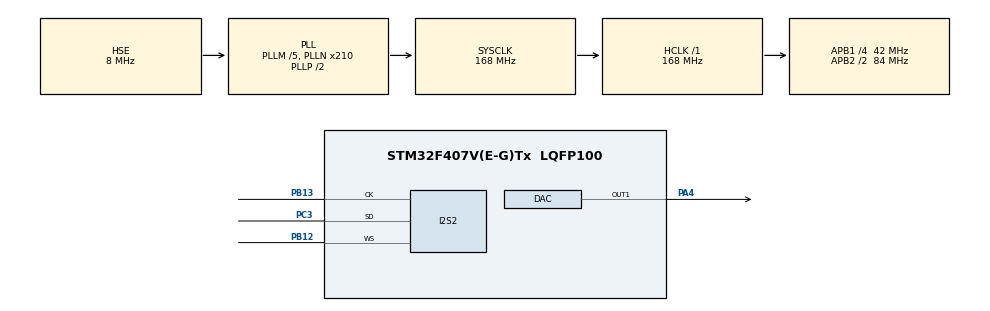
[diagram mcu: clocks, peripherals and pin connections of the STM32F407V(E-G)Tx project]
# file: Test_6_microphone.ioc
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DAC.DAC_Trigger=DAC_TRIGGER_T6_TRGO
Dma.DAC1.0.Direction=DMA_MEMORY_TO_PERIPH
Dma.DAC1.0.FIFOMode=DMA_FIFOMODE_DISABLE
Dma.DAC1.0.Instance=DMA1_Stream5
Dma.DAC1.0.MemDataAlignment=DMA_MDATAALIGN_HALFWORD
Dma.DAC1.0.MemInc=DMA_MINC_ENABLE
Dma.DAC1.0.Mode=DMA_CIRCULAR
Dma.DAC1.0.PeriphDataAlignment=DMA_PDATAALIGN_HALFWORD
Dma.DAC1.0.PeriphInc=DMA_PINC_DISABLE
Dma.DAC1.0.Priority=DMA_PRIORITY_LOW
Dma.Request0=DAC1
Dma.Request1=SPI2_RX
Dma.SPI2_RX.1.Direction=DMA_PERIPH_TO_MEMORY
Dma.SPI2_RX.1.FIFOMode=DMA_FIFOMODE_DISABLE
Dma.SPI2_RX.1.Instance=DMA1_Stream3
Dma.SPI2_RX.1.MemDataAlignment=DMA_MDATAALIGN_HALFWORD
Dma.SPI2_RX.1.MemInc=DMA_MINC_ENABLE
Dma.SPI2_RX.1.Mode=DMA_CIRCULAR
Dma.SPI2_RX.1.PeriphDataAlignment=DMA_PDATAALIGN_HALFWORD
Dma.SPI2_RX.1.PeriphInc=DMA_PINC_DISABLE
Dma.SPI2_RX.1.Priority=DMA_PRIORITY_HIGH
I2S2.AudioFreq=AudioFreqCustomValue
I2S2.AudioFreqCustom=68000
I2S2.DataFormat=I2S_DATAFORMAT_24B
I2S2.ErrorAudioFreq=0.83 %
I2S2.FullDuplexMode=I2S_FULLDUPLEXMODE_DISABLE
I2S2.Instance=SPI$Index
I2S2.Mode=I2S_MODE_MASTER_RX
I2S2.RealAudioFreq=68.571 KHz
I2S2.Standard=I2S_STANDARD_PHILIPS
I2S2.VirtualMode=I2S_MODE_MASTER
Mcu.Family=STM32F4
Mcu.Name=STM32F407V(E-G)Tx
Mcu.Package=LQFP100
NVIC.DMA1_Stream3_IRQn=true\:0\:0\:false\:false\:true\:false\:true
NVIC.DMA1_Stream5_IRQn=true\:0\:0\:false\:false\:true\:false\:true
NVIC.PriorityGroup=NVIC_PRIORITYGROUP_4
PA4.Signal=COMP_DAC1_group
PB12.Mode=Half_Duplex_Master
PB12.Signal=I2S2_WS
PB13.Mode=Half_Duplex_Master
PB13.Signal=I2S2_CK
PC3.Mode=Half_Duplex_Master
PC3.Signal=I2S2_SD
PH0-OSC_IN.Mode=HSE-External-Oscillator
PH0-OSC_IN.Signal=RCC_OSC_IN
PH1-OSC_OUT.Mode=HSE-External-Oscillator
PH1-OSC_OUT.Signal=RCC_OSC_OUT
ProjectManager.HeapSize=0x200
ProjectManager.StackSize=0x400
ProjectManager.TargetToolchain=STM32CubeIDE
RCC.48MHZClocksFreq_Value=84000000
RCC.AHBFreq_Value=168000000
RCC.APB1CLKDivider=RCC_HCLK_DIV4
RCC.APB1Freq_Value=42000000
RCC.APB1TimFreq_Value=84000000
RCC.APB2CLKDivider=RCC_HCLK_DIV2
RCC.APB2Freq_Value=84000000
RCC.APB2TimFreq_Value=168000000
RCC.CortexFreq_Value=168000000
RCC.HCLKFreq_Value=168000000
RCC.HSE_VALUE=8000000
RCC.HSI_VALUE=16000000
RCC.LSE_VALUE=32768
RCC.PLLM=5
RCC.PLLN=210
RCC.PLLSourceVirtual=RCC_PLLSOURCE_HSE
RCC.SYSCLKFreq_VALUE=168000000
RCC.SYSCLKSource=RCC_SYSCLKSOURCE_PLLCLK
RCC.VCOOutputFreq_Value=336000000
SH.COMP_DAC1_group.0=DAC_OUT1,DAC_OUT1
TIM6.Period=9
TIM6.Prescaler=524
TIM6.TIM_MasterOutputTrigger=TIM_TRGO_UPDATE
VP_TIM6_VS_ClockSourceINT.Mode=Enable_Timer
board=custom

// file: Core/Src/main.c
/* USER CODE BEGIN Header */
/**
  ******************************************************************************
  * @file           : main.c
  * @brief          : Main program body
  ******************************************************************************
  * @attention
  *
  * <h2><center>&copy; Copyright (c) 2021 STMicroelectronics.
  * All rights reserved.</center></h2>
  *
  * This software component is licensed by ST under BSD 3-Clause license,
  * the "License"; You may not use this file except in compliance with the
  * License. You may obtain a copy of the License at:
  *                        opensource.org/licenses/BSD-3-Clause
  *
  ******************************************************************************
  */
/* USER CODE END Header */
#include "main.h"

DAC_HandleTypeDef hdac;
DMA_HandleTypeDef hdma_dac1;

I2S_HandleTypeDef hi2s2;
DMA_HandleTypeDef hdma_spi2_rx;

TIM_HandleTypeDef htim6;

void SystemClock_Config(void);
static void MX_GPIO_Init(void);
static void MX_DMA_Init(void);
static void MX_I2S2_Init(void);
static void MX_DAC_Init(void);
static void MX_TIM6_Init(void);

/* USER CODE BEGIN 0 */
#define WINDOWS    64
int p = 0;

uint16_t sincfilter[WINDOWS] = {0, 2, 9, 21, 39, 63, 94, 132, 179, 236, 302, 379, 467, 565, 674, 792,920, 1055, 1196, 1341, 1487, 1633, 1776, 1913, 2042, 2159, 2263, 2352, 2422, 2474, 2506, 2516,
		2516,2506, 2474, 2422, 2352, 2263, 2159, 2042, 1913, 1776, 1633, 1487, 1341, 1196, 1055, 920, 792,674, 565, 467, 379, 302, 236, 179, 132, 94, 63, 39, 21, 9, 2, 0};

#define PDM_REPEAT_LOOP_16(X) X X X X X X X X X X X X X X X X

#define M 39
  float h[M] = {

		  0.006526294108719504,//20-1000,1500 16k  39
		    0.0036954546212568918,
		    0.0027581327594972563,
		    -0.00014809822371298327,
		    -0.005263184187396691,
		    -0.012356628833352229,
		    -0.020643674705147004,
		    -0.028757957640461573,
		    -0.03494478865704871,
		    -0.03725107760327918,
		    -0.03393048708971835,
		    -0.023804873512318053,
		    -0.006560524225643958,
		    0.01703205026739772,
		    0.045105685552851424,
		    0.07487534752671617,
		    0.10301820736184145,
		    0.1261467794208122,
		    0.14134063629844007,
		    0.14663628101378087,
		    0.14134063629844007,
		    0.1261467794208122,
		    0.10301820736184145,
		    0.07487534752671617,
		    0.045105685552851424,
		    0.01703205026739772,
		    -0.006560524225643958,
		    -0.023804873512318053,
		    -0.03393048708971835,
		    -0.03725107760327918,
		    -0.03494478865704871,
		    -0.028757957640461573,
		    -0.020643674705147004,
		    -0.012356628833352229,
		    -0.005263184187396691,
		    -0.00014809822371298327,
		    0.0027581327594972563,
		    0.0036954546212568918,
		    0.006526294108719504
  };

float x_n[M+1]={0,0,0,0,0,0,0,0,0,0,0,0,0,0,0,0,0,0,
		      0,0,0,0,0,0,0,0,0,0,0,0,0,0,0,0,0,0,0,0};

float filtro(int in){
	float y=0;

	x_n[0] = in;
	y = h[0] * x_n[0];
	for(int j=1;j<M;j++){
		y += h[j] * x_n[j];
	};

	for (int i=M;i>0;i--){
		x_n[i]=x_n[i-1];
	};
	return y;
}

uint16_t txBuf[64];
uint16_t pdmRxBuf[34];

void HAL_I2S_RxHalfCpltCallback (I2S_HandleTypeDef *hi2s) {
	uint16_t runningsum = 0;
	uint16_t *sinc_ptr = sincfilter;
	for (uint8_t i=0; i < 4 ; i++) {
		PDM_REPEAT_LOOP_16({
			if (pdmRxBuf[i] & 0x1) {
				runningsum += *sinc_ptr;
			}
			sinc_ptr++;
			pdmRxBuf[i] >>= 1;
		})
	}
	runningsum /= 16 ;
	if (p >= 64){
		p = 0;
	}
	//txBuf[p] = filtro(runningsum);
	txBuf[p] = runningsum;
	p++;
}

void HAL_I2S_RxCpltCallback (I2S_HandleTypeDef *hi2s) {
	uint16_t runningsum = 0;
		uint16_t *sinc_ptr = sincfilter;
		for (uint8_t i=17; i < 20 ; i++) {
			PDM_REPEAT_LOOP_16({
				if (pdmRxBuf[i] & 0x1) {
					runningsum += *sinc_ptr;
				}
				sinc_ptr++;
				pdmRxBuf[i] >>= 1;
			})
		}
		runningsum /= 16 ;
		if (p >= 64){
			p = 0;
		}
		//txBuf[p] = filtro(runningsum);
		txBuf[p] = runningsum;
		p++;
}

/* USER CODE END 0 */

int main(void)
{

  /* MCU Configuration--------------------------------------------------------*/

  /* Reset of all peripherals, Initializes the Flash interface and the Systick. */
  HAL_Init();

  /* Configure the system clock */
  SystemClock_Config();

  /* Initialize all configured peripherals */
  MX_GPIO_Init();
  MX_DMA_Init();
  MX_I2S2_Init();
  MX_DAC_Init();
  MX_TIM6_Init();
  /* USER CODE BEGIN 2 */

  HAL_I2S_Receive_DMA(&hi2s2, &pdmRxBuf[0],17);

  HAL_TIM_Base_Start(&htim6);
  HAL_DAC_Start(&hdac, DAC_CHANNEL_1);
  HAL_DAC_Start_DMA(&hdac, DAC_CHANNEL_1, (uint32_t*)txBuf, 64, DAC_ALIGN_12B_R);

  /* USER CODE END 2 */

  /* Infinite loop */
  while (1)
  {

  }
}

void SystemClock_Config(void)
{
  RCC_OscInitTypeDef RCC_OscInitStruct = {0};
  RCC_ClkInitTypeDef RCC_ClkInitStruct = {0};

  /** Configure the main internal regulator output voltage
  */
  __HAL_RCC_PWR_CLK_ENABLE();
  __HAL_PWR_VOLTAGESCALING_CONFIG(PWR_REGULATOR_VOLTAGE_SCALE1);
  /** Initializes the RCC Oscillators according to the specified parameters
  * in the RCC_OscInitTypeDef structure.
  */
  RCC_OscInitStruct.OscillatorType = RCC_OSCILLATORTYPE_HSE;
  RCC_OscInitStruct.HSEState = RCC_HSE_ON;
  RCC_OscInitStruct.PLL.PLLState = RCC_PLL_ON;
  RCC_OscInitStruct.PLL.PLLSource = RCC_PLLSOURCE_HSE;
  RCC_OscInitStruct.PLL.PLLM = 5;
  RCC_OscInitStruct.PLL.PLLN = 210;
  RCC_OscInitStruct.PLL.PLLP = RCC_PLLP_DIV2;
  RCC_OscInitStruct.PLL.PLLQ = 4;
  if (HAL_RCC_OscConfig(&RCC_OscInitStruct) != HAL_OK)
  {
    Error_Handler();
  }
  /** Initializes the CPU, AHB and APB buses clocks
  */
  RCC_ClkInitStruct.ClockType = RCC_CLOCKTYPE_HCLK|RCC_CLOCKTYPE_SYSCLK
                              |RCC_CLOCKTYPE_PCLK1|RCC_CLOCKTYPE_PCLK2;
  RCC_ClkInitStruct.SYSCLKSource = RCC_SYSCLKSOURCE_PLLCLK;
  RCC_ClkInitStruct.AHBCLKDivider = RCC_SYSCLK_DIV1;
  RCC_ClkInitStruct.APB1CLKDivider = RCC_HCLK_DIV4;
  RCC_ClkInitStruct.APB2CLKDivider = RCC_HCLK_DIV2;

  if (HAL_RCC_ClockConfig(&RCC_ClkInitStruct, FLASH_LATENCY_5) != HAL_OK)
  {
    Error_Handler();
  }
}

static void MX_DAC_Init(void)
{

  DAC_ChannelConfTypeDef sConfig = {0};

  /** DAC Initialization
  */
  hdac.Instance = DAC;
  if (HAL_DAC_Init(&hdac) != HAL_OK)
  {
    Error_Handler();
  }
  /** DAC channel OUT1 config
  */
  sConfig.DAC_Trigger = DAC_TRIGGER_T6_TRGO;
  sConfig.DAC_OutputBuffer = DAC_OUTPUTBUFFER_ENABLE;
  if (HAL_DAC_ConfigChannel(&hdac, &sConfig, DAC_CHANNEL_1) != HAL_OK)
  {
    Error_Handler();
  }

}

static void MX_I2S2_Init(void)
{

  hi2s2.Instance = SPI2;
  hi2s2.Init.Mode = I2S_MODE_MASTER_RX;
  hi2s2.Init.Standard = I2S_STANDARD_PHILIPS;
  hi2s2.Init.DataFormat = I2S_DATAFORMAT_24B;
  hi2s2.Init.MCLKOutput = I2S_MCLKOUTPUT_DISABLE;
  hi2s2.Init.AudioFreq = 68000;
  hi2s2.Init.CPOL = I2S_CPOL_LOW;
  hi2s2.Init.ClockSource = I2S_CLOCK_PLL;
  hi2s2.Init.FullDuplexMode = I2S_FULLDUPLEXMODE_DISABLE;
  if (HAL_I2S_Init(&hi2s2) != HAL_OK)
  {
    Error_Handler();
  }

}

static void MX_TIM6_Init(void)
{

  TIM_MasterConfigTypeDef sMasterConfig = {0};

  htim6.Instance = TIM6;
  htim6.Init.Prescaler = 524;
  htim6.Init.CounterMode = TIM_COUNTERMODE_UP;
  htim6.Init.Period = 9;
  htim6.Init.AutoReloadPreload = TIM_AUTORELOAD_PRELOAD_DISABLE;
  if (HAL_TIM_Base_Init(&htim6) != HAL_OK)
  {
    Error_Handler();
  }
  sMasterConfig.MasterOutputTrigger = TIM_TRGO_UPDATE;
  sMasterConfig.MasterSlaveMode = TIM_MASTERSLAVEMODE_DISABLE;
  if (HAL_TIMEx_MasterConfigSynchronization(&htim6, &sMasterConfig) != HAL_OK)
  {
    Error_Handler();
  }

}

static void MX_DMA_Init(void)
{

  /* DMA controller clock enable */
  __HAL_RCC_DMA1_CLK_ENABLE();

  /* DMA interrupt init */
  /* DMA1_Stream3_IRQn interrupt configuration */
  HAL_NVIC_SetPriority(DMA1_Stream3_IRQn, 0, 0);
  HAL_NVIC_EnableIRQ(DMA1_Stream3_IRQn);
  /* DMA1_Stream5_IRQn interrupt configuration */
  HAL_NVIC_SetPriority(DMA1_Stream5_IRQn, 0, 0);
  HAL_NVIC_EnableIRQ(DMA1_Stream5_IRQn);

}

static void MX_GPIO_Init(void)
{

  /* GPIO Ports Clock Enable */
  __HAL_RCC_GPIOH_CLK_ENABLE();
  __HAL_RCC_GPIOC_CLK_ENABLE();
  __HAL_RCC_GPIOA_CLK_ENABLE();
  __HAL_RCC_GPIOB_CLK_ENABLE();

}

void Error_Handler(void)
{
  __disable_irq();
  while (1)
  {
  }
}

/************************ (C) COPYRIGHT STMicroelectronics *****END OF FILE****/
